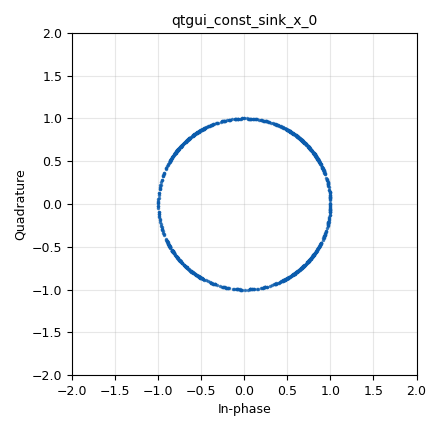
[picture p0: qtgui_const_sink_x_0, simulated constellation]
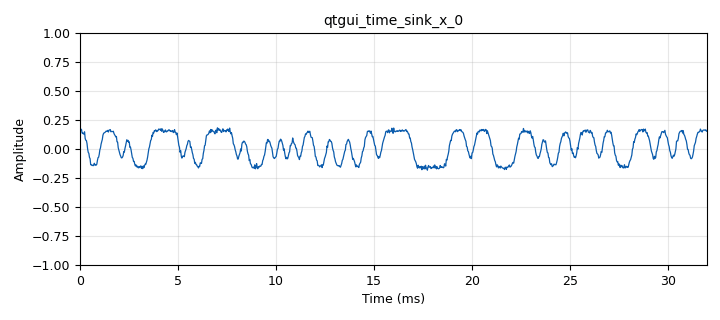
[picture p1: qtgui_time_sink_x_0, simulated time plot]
options:
  parameters:
    generate_options: qt_gui
    id: GMSK_example
    output_language: python
    title: Not titled yet
  states: {}

blocks:
- name: fsk_deviation_hz
  id: variable
  parameters:
    value: 8.0*samp_rate/(2*math.pi)
  states: {}
- name: samp_rate
  id: variable
  parameters:
    value: '32000'
  states: {}
- name: analog_quadrature_demod_cf_0
  id: analog_quadrature_demod_cf
  parameters:
    gain: samp_rate/(2*math.pi*fsk_deviation_hz/8.0)
  states: {}
- name: analog_random_source_x_0
  id: analog_random_source_x
  parameters:
    max: '256'
    min: '0'
    num_samps: '10000'
    repeat: 'True'
    type: byte
  states: {}
- name: blocks_throttle_0
  id: blocks_throttle
  parameters:
    samples_per_second: samp_rate
    type: complex
  states: {}
- name: channels_impairments_0
  id: channels_impairments
  parameters:
    freq_offset: '0'
    gamma: '0'
    i_ofs: '0'
    magbal: '0'
    phase_noise_mag: '0'
    phasebal: '0'
    q_ofs: '0'
  states: {}
- name: digital_gmsk_mod_0
  id: digital_gmsk_mod
  parameters:
    bt: '0.30'
    samples_per_symbol: '10'
  states: {}
- name: qtgui_const_sink_x_0
  id: qtgui_const_sink_x
  parameters:
    size: '1024'
    type: complex
  states: {}
- name: qtgui_time_sink_x_0
  id: qtgui_time_sink_x
  parameters:
    size: '1024'
    srate: samp_rate
    type: float
  states: {}

connections:
- [analog_quadrature_demod_cf_0, '0', qtgui_time_sink_x_0, '0']
- [analog_random_source_x_0, '0', digital_gmsk_mod_0, '0']
- [blocks_throttle_0, '0', channels_impairments_0, '0']
- [channels_impairments_0, '0', analog_quadrature_demod_cf_0, '0']
- [channels_impairments_0, '0', qtgui_const_sink_x_0, '0']
- [digital_gmsk_mod_0, '0', blocks_throttle_0, '0']

metadata:
  file_format: 1
